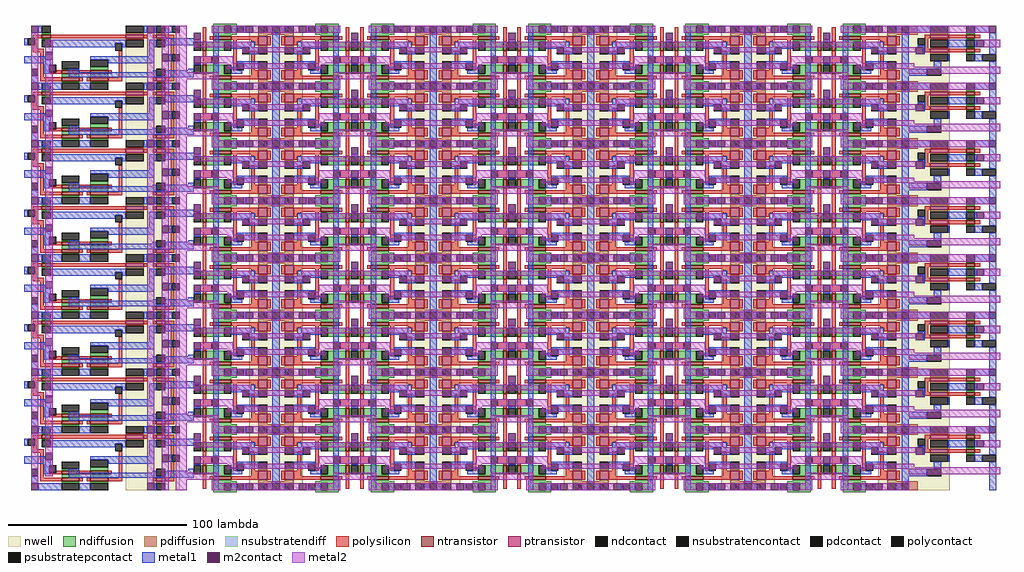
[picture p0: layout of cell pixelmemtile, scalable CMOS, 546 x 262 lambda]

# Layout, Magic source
magic
tech scmos
<< metal2 >>
rect 12 180 16 210
rect 12 116 16 146
rect 12 54 16 84
use memtile memtile_3
transform 1 0 95 0 1 192
box -95 -1 451 69
use memtile memtile_2
transform 1 0 95 0 1 128
box -95 -1 451 69
use memtile memtile_1
transform 1 0 95 0 1 64
box -95 -1 451 69
use memtile memtile_0
transform 1 0 95 0 1 0
box -95 -1 451 69
<< end >>

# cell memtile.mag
magic
tech scmos
<< metal2 >>
rect -83 20 -79 52
rect -8 42 -4 68
rect -8 38 2 42
rect -8 10 -4 38
rect -8 6 2 10
rect -8 0 -4 6
use writecell writecell_1
transform 1 0 -60 0 1 26
box -35 6 60 42
use writecell writecell_0
transform 1 0 -60 0 1 -6
box -35 6 60 42
use sram4cell sram4cell_0
transform 1 0 2 0 1 32
box -2 -33 90 37
use sram4cell sram4cell_1
transform 1 0 90 0 1 32
box -2 -33 90 37
use sram4cell sram4cell_2
transform 1 0 178 0 1 32
box -2 -33 90 37
use readcell readcell_1
transform 1 0 423 0 1 31
box -25 1 28 37
use sram sram_1
transform 0 1 354 -1 0 67
box -2 -2 36 51
use sram4cell sram4cell_3
transform 1 0 266 0 1 32
box -2 -33 90 37
use readcell readcell_0
transform 1 0 423 0 1 -1
box -25 1 28 37
use sram sram_0
transform 0 1 354 -1 0 35
box -2 -2 36 51
<< labels >>
rlabel metal2 -6 2 -6 2 5 Gnd
<< end >>

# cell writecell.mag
magic
tech scmos
<< nwell >>
rect 22 6 52 42
<< polysilicon >>
rect -30 35 -25 37
rect -20 35 22 37
rect 32 35 34 37
rect 37 35 39 37
rect 44 35 49 37
rect -29 31 -28 35
rect -30 29 -28 31
rect -30 27 -24 29
rect -26 13 -24 27
rect -17 16 -14 17
rect -21 15 -14 16
rect -4 15 2 17
rect 12 15 14 17
rect 18 13 20 28
rect 47 26 49 35
rect 47 22 48 26
rect 47 13 49 22
rect -26 11 -14 13
rect -4 11 -2 13
rect 0 11 2 13
rect 12 11 20 13
rect 37 11 39 13
rect 44 11 49 13
<< ndiffusion >>
rect -25 37 -20 38
rect -25 34 -20 35
rect -14 17 -4 18
rect 2 17 12 19
rect -14 13 -4 15
rect 2 13 12 15
rect -14 10 -4 11
rect 2 10 12 11
<< pdiffusion >>
rect 22 37 32 38
rect 39 37 44 38
rect 22 34 32 35
rect 39 34 44 35
rect 39 13 44 14
rect 39 10 44 11
<< metal1 >>
rect -27 38 -25 42
rect 32 38 34 42
rect 38 38 39 42
rect 44 38 48 42
rect -35 31 -33 35
rect -20 32 22 34
rect -20 30 16 32
rect 20 30 22 32
rect 35 30 39 34
rect 44 31 60 35
rect -35 23 -23 25
rect 35 25 38 30
rect 2 23 38 25
rect -35 21 -20 23
rect -24 20 -20 21
rect -24 15 -21 20
rect 12 21 38 23
rect 46 22 48 26
rect -10 16 -4 18
rect 37 16 39 17
rect -31 10 -27 14
rect -10 14 39 16
rect 57 17 60 18
rect 44 14 60 17
rect -10 13 60 14
rect -27 6 -14 10
rect -4 6 2 10
rect 38 6 39 10
<< metal2 >>
rect -31 10 -27 38
rect -23 27 -19 34
rect -23 14 -19 23
rect 34 10 38 38
rect 42 26 46 42
rect 42 6 46 22
rect 50 6 53 42
<< ntransistor >>
rect -25 35 -20 37
rect -14 15 -4 17
rect 2 15 12 17
rect -14 11 -4 13
rect 2 11 12 13
<< ptransistor >>
rect 22 35 32 37
rect 39 35 44 37
rect 39 11 44 13
<< polycontact >>
rect -33 31 -29 35
rect 16 28 20 32
rect -21 16 -17 20
rect 48 22 52 26
<< ndcontact >>
rect -25 38 -20 42
rect -25 30 -20 34
rect -14 18 -4 22
rect 2 19 12 23
rect -14 6 -4 10
rect 2 6 12 10
<< pdcontact >>
rect 22 38 32 42
rect 39 38 44 42
rect 22 30 32 34
rect 39 30 44 34
rect 39 14 44 18
rect 39 6 44 10
<< m2contact >>
rect -31 38 -27 42
rect 34 38 38 42
rect -23 23 -19 27
rect 42 22 46 26
rect -31 6 -27 10
rect 34 6 38 10
<< psubstratepcontact >>
rect -31 14 -27 18
<< nsubstratencontact >>
rect 48 38 52 42
<< labels >>
rlabel metal1 55 15 55 15 5 bit_b
rlabel metal1 55 33 55 33 5 bit
rlabel metal1 -34 23 -34 23 7 write
rlabel metal1 -34 33 -34 33 7 in
rlabel metal2 43 20 43 20 1 Phi2_b
rlabel metal2 36 19 36 19 1 Vdd
rlabel metal2 -29 14 -29 14 8 gnd
<< end >>

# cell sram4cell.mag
magic
tech scmos
use sram sram_0
transform 0 1 0 -1 0 35
box -2 -2 36 51
use sram sram_2
transform 0 -1 88 -1 0 35
box -2 -2 36 51
use sram sram_1
transform 0 1 0 -1 0 3
box -2 -2 36 51
use sram sram_3
transform 0 -1 88 -1 0 3
box -2 -2 36 51
<< end >>

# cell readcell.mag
magic
tech scmos
<< nwell >>
rect -23 1 0 37
<< polysilicon >>
rect -14 30 -11 32
rect -1 30 9 32
rect 14 30 17 32
rect -14 24 -12 30
rect -14 22 -11 24
rect -1 22 9 24
rect 14 22 17 24
<< ndiffusion >>
rect 9 32 14 33
rect 9 29 14 30
rect 9 24 14 25
rect 9 21 14 22
<< pdiffusion >>
rect -11 32 -1 33
rect -11 29 -1 30
rect -11 24 -1 25
rect -11 21 -1 22
<< metal1 >>
rect -23 33 -11 37
rect 14 33 22 37
rect -18 25 -14 26
rect -1 25 9 29
rect 14 25 15 29
rect -15 21 -14 25
rect 22 21 26 33
rect -1 17 0 21
rect 14 17 18 21
rect -9 13 -5 17
rect -23 9 -13 13
rect 22 1 26 17
<< metal2 >>
rect -25 33 22 37
rect 19 25 28 29
rect -23 22 -19 25
rect -23 14 -20 16
rect -23 10 28 14
<< ntransistor >>
rect 9 30 14 32
rect 9 22 14 24
<< ptransistor >>
rect -11 30 -1 32
rect -11 22 -1 24
<< polycontact >>
rect -18 26 -14 30
<< ndcontact >>
rect 9 33 14 37
rect 9 25 14 29
rect 9 17 14 21
<< pdcontact >>
rect -11 33 -1 37
rect -11 25 -1 29
rect -11 17 -1 21
<< m2contact >>
rect 22 33 26 37
rect 15 25 19 29
rect -19 21 -15 25
<< psubstratepcontact >>
rect 18 17 26 21
<< nsubstratencontact >>
rect -13 9 -5 13
<< labels >>
rlabel metal2 -21 15 -21 15 7 bit_b
rlabel metal2 -21 24 -21 24 7 bit
rlabel metal2 27 27 27 27 3 bit_inv
rlabel metal1 24 2 24 2 5 Gnd
rlabel metal1 -21 35 -21 35 7 Vdd
<< end >>

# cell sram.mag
magic
tech scmos
<< nwell >>
rect -1 29 35 46
<< polysilicon >>
rect 5 39 10 41
rect 24 39 29 41
rect 5 32 10 34
rect 24 32 29 34
rect 5 30 8 32
rect 13 30 29 32
rect 5 22 7 30
rect 13 29 15 30
rect 5 20 24 22
rect 5 19 7 20
rect 27 19 29 30
rect 5 7 7 9
rect 16 5 20 8
rect 27 7 29 9
rect 0 3 8 5
rect 13 3 21 5
rect 26 3 34 5
<< ndiffusion >>
rect -2 19 4 22
rect 30 19 36 22
rect -2 15 -1 19
rect 3 15 5 19
rect -2 9 5 15
rect 7 15 8 19
rect 7 9 13 15
rect 26 15 27 19
rect 8 5 13 9
rect 21 9 27 15
rect 29 15 31 19
rect 35 15 36 19
rect 29 9 36 15
rect 21 5 26 9
rect 8 2 13 3
rect 21 2 26 3
<< pdiffusion >>
rect -1 46 4 51
rect -1 39 4 42
rect 30 46 35 51
rect 30 39 35 42
rect 3 34 5 39
rect 10 34 11 39
rect 23 34 24 39
rect 29 34 31 39
<< metal1 >>
rect 3 42 31 46
rect -1 39 3 42
rect 31 39 35 42
rect 11 32 15 34
rect -1 26 3 27
rect -1 19 3 22
rect 8 29 15 32
rect 8 25 11 29
rect 19 26 23 34
rect 31 26 35 27
rect 8 19 12 25
rect 19 22 20 26
rect 24 22 26 25
rect 22 19 26 22
rect 31 19 35 22
rect -1 9 16 12
rect 20 9 35 12
rect 7 -2 8 2
rect 20 -2 21 2
<< metal2 >>
rect -1 42 4 46
rect -1 31 3 42
rect 11 30 14 46
rect -1 8 3 27
rect 8 25 14 30
rect 8 2 11 25
rect 20 20 23 46
rect 30 42 35 46
rect 7 -2 11 2
rect 16 17 23 20
rect 31 31 35 42
rect 16 2 20 17
rect 31 12 35 27
rect 25 8 35 12
rect 25 -2 29 8
<< ntransistor >>
rect 5 9 7 19
rect 27 9 29 19
rect 8 3 13 5
rect 21 3 26 5
<< ptransistor >>
rect 5 34 10 39
rect 24 34 29 39
<< polycontact >>
rect 11 25 15 29
rect 20 22 24 26
rect 16 8 20 12
<< ndcontact >>
rect -1 15 3 19
rect 8 15 13 19
rect 21 15 26 19
rect 31 15 35 19
rect 8 -2 13 2
rect 21 -2 26 2
<< pdcontact >>
rect -1 34 3 39
rect 11 34 15 39
rect 19 34 23 39
rect 31 34 35 39
<< m2contact >>
rect -1 27 3 31
rect 31 27 35 31
rect 3 -2 7 2
rect 16 -2 20 2
<< psubstratepcontact >>
rect -1 22 3 26
rect 31 22 35 26
<< nsubstratencontact >>
rect -1 42 3 46
rect 31 42 35 46
<< nsubstratendiff >>
rect 3 42 4 46
rect 30 42 31 46
<< labels >>
rlabel metal1 9 31 9 31 1 a
rlabel m2contact 1 29 1 29 1 gnda
rlabel metal2 21 40 21 40 1 bit_b
rlabel metal1 21 30 21 30 5 a_b
rlabel metal1 23 44 23 44 1 Vdd
rlabel m2contact 33 29 33 29 1 gnd
rlabel metal2 13 40 13 40 1 bit
<< end >>
